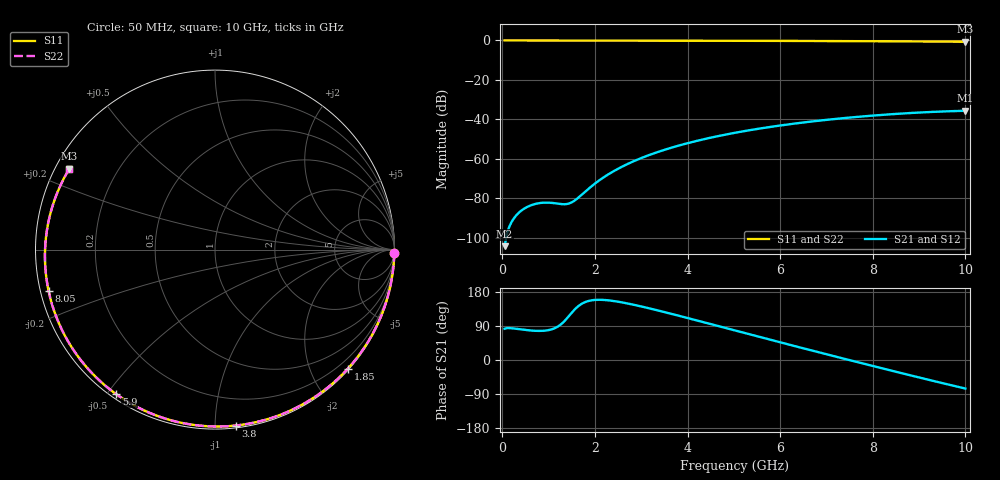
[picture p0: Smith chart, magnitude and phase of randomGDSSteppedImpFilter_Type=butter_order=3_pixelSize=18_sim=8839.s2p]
! freq	dB(S11)	phase(S11)	dB(S12)	phase(S12)
!  dB(S21)	phase(S21)	dB(S22)	phase(S22)
!S-par simulation data
#  GHz  S  DB  R 50
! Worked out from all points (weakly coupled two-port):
!   200 points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, 50 MHz to 10 GHz, reference 50 ohm
!   highest |S21| = -35.65 dB at 10 GHz (marker M1); lowest = -104.3 dB at 50 MHz (marker M2)
!   lowest |S11| = -0.6 dB at 10 GHz (marker M3), VSWR 26.88, Z = 1.98 + j12.9 ohm
!   |S11| at or under -10 dB: nowhere
!   |S22| runs from -0.6 to 0.0 dB; largest |S21 - S12| = 0
!   S11 on the Smith chart (normalised r, x): 50 MHz: open; 1.85 GHz: 0.02, -2.61; 3.8 GHz: 0.01, -1.13; 5.9 GHz: 0.02, -0.53; 8.05 GHz: 0.02, -0.12; 10 GHz: 0.04, +0.26
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0.05  -0.00 -1.1  -104.32 82.5  -104.32 82.5  -0.00 -1.1
0.8  -0.02 -18.3  -82.50 76.7  -82.50 76.7  -0.02 -18.3
1.6  -0.05 -36.4  -80.53 137.7  -80.53 137.7  -0.05 -36.4
1.65  -0.05 -37.5  -79.58 142.9  -79.58 142.9  -0.05 -37.5
1.75  -0.05 -39.7  -77.52 150.6  -77.52 150.6  -0.05 -39.7
1.85  -0.05 -41.9  -75.47 155.3  -75.47 155.3  -0.05 -41.9
2.15  -0.06 -48.5  -70.03 158.8  -70.03 158.8  -0.06 -48.5
2.5  -0.07 -56.0  -65.06 153.9  -65.06 153.9  -0.07 -56.0
2.9  -0.08 -64.5  -60.61 144.1  -60.61 144.1  -0.08 -64.5
3.4  -0.10 -74.9  -56.24 129.6  -56.24 129.6  -0.10 -74.9
3.8  -0.11 -83.1  -53.38 117.2  -53.38 117.2  -0.11 -83.1
4.4  -0.14 -95.2  -49.83 98.1  -49.83 98.1  -0.14 -95.2
5.05  -0.17 -107.9  -46.71 77.1  -46.71 77.1  -0.17 -107.9
5.9  -0.21 -124.3  -43.47 49.9  -43.47 49.9  -0.21 -124.3
6.7  -0.27 -139.6  -41.05 24.6  -41.05 24.6  -0.27 -139.6
7.4  -0.33 -153.2  -39.32 2.7  -39.32 2.7  -0.33 -153.2
8.05  -0.40 -166.1  -38.01 -17.3  -38.01 -17.3  -0.40 -166.1
8.35  -0.43 -172.2  -37.49 -26.5  -37.49 -26.5  -0.43 -172.2
8.8  -0.48 178.3  -36.82 -40.1  -36.82 -40.1  -0.48 178.3
9.2  -0.54 169.6  -36.33 -52.1  -36.33 -52.1  -0.54 169.6
9.6  -0.59 160.5  -35.94 -63.9  -35.94 -63.9  -0.59 160.5
10  -0.65 150.9  -35.65 -75.4  -35.65 -75.4  -0.65 150.9
